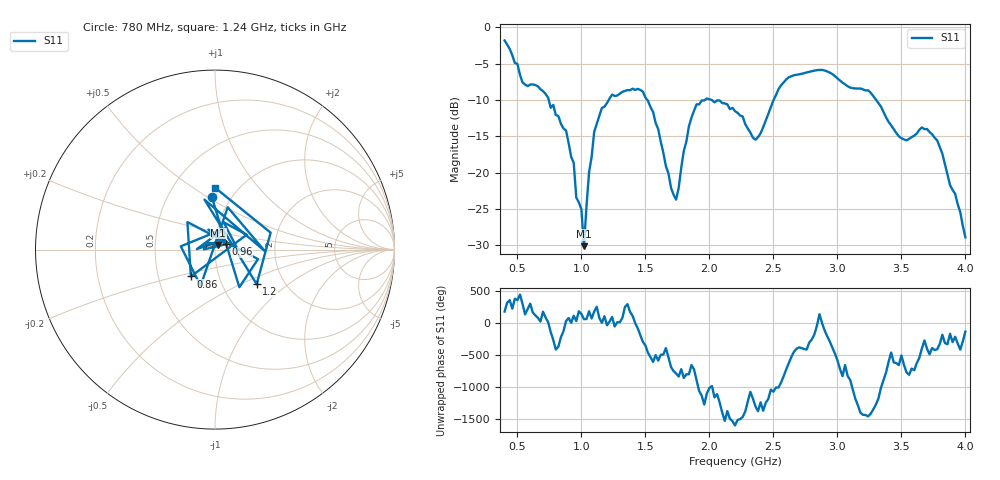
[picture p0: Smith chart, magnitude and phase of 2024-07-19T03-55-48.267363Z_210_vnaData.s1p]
!Created with skrf (http://scikit-rf.org).
# Hz S RI R 50.0
!freq ReS11 ImS11
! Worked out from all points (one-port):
!   181 points, 400 MHz to 4 GHz, reference 50 ohm
!   lowest |S11| = -30.1 dB at 1.02 GHz (marker M1), VSWR 1.06, Z = 51.7 + j2.66 ohm
!   |S11| at or under -10 dB: 744.8 MHz to 1.213 GHz (468.5 MHz wide, 47.9 % of centre); 2.02 GHz to 2.501 GHz (481.3 MHz wide, 21.3 % of centre); 3.303 GHz to end of sweep (the widest 3 of 4)
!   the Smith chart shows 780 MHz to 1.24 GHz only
!   S11 on the Smith chart (normalised r, x): 780 MHz: 0.82, +0.52; 860 MHz: 0.73, -0.23; 960 MHz: 1.13, +0.07; 1.2 GHz: 1.45, -0.61; 1.24 GHz: 0.79, +0.62
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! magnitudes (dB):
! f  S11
! 400 MHz  -1.8
! 540 MHz  -7.6
! 780 MHz  -10.7
! 860 MHz  -13.9
! 940 MHz  -18.6
! 960 MHz  -23.4
! 1 GHz  -25.1
! 1.02 GHz  -30.1
! 1.06 GHz  -19.9
! 1.1 GHz  -14.4
! 1.2 GHz  -10.4
! 1.24 GHz  -9.3
! 1.3 GHz  -9.1
! 1.48 GHz  -8.8
! 1.56 GHz  -11.6
! 1.72 GHz  -23.0
! 1.76 GHz  -22.1
! 1.84 GHz  -13.6
! 1.9 GHz  -10.6
! 2.2 GHz  -11.5
! 2.36 GHz  -15.5
! 2.66 GHz  -6.6
! 3.1 GHz  -8.3
! 3.24 GHz  -8.7
! 3.56 GHz  -15.3
! 3.66 GHz  -13.8
! 3.78 GHz  -15.6
! 4 GHz  -28.9
